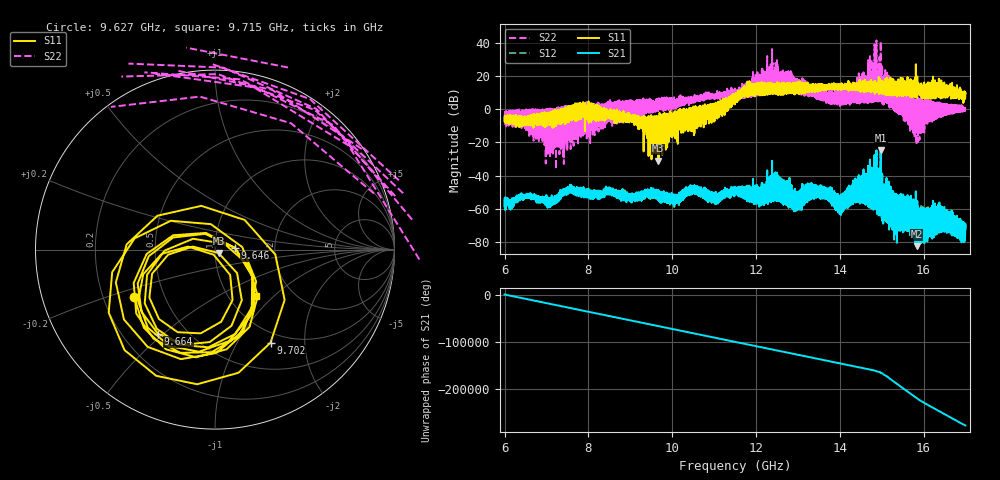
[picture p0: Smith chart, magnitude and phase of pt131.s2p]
#  HZ  S  RI  R  50.00
! Rohde & Schwarz Vector Network Analyzer
! Rohde-Schwarz,ZNA67-2Port,1332450062101215,3.01
! Created: UTC 10/19/2026, 5:41:43 PM
! freq[Hz]  re:S11  im:S11  re:S21  im:S21  re:S12  im:S12  re:S22  im:S22
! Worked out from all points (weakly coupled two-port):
!   11001 points, 6 GHz to 17 GHz, reference 50 ohm
!   highest |S21| = -24.55 dB at 14.98 GHz (marker M1); lowest = -82.7 dB at 15.83 GHz (marker M2)
!   lowest |S11| = -31.1 dB at 9.67 GHz (marker M3), VSWR 1.06, Z = 52 - j2.02 ohm
!   |S11| at or under -10 dB: 9.386495 GHz to 9.391293 GHz (4.798 MHz wide, 0.0511 % of centre); 9.398465 GHz to 9.403023 GHz (4.558 MHz wide, 0.0485 % of centre); 9.586537 GHz to 9.591015 GHz (4.478 MHz wide, 0.0467 % of centre) (the widest 3 of 123)
!   |S22| runs from -36.2 to 41.5 dB; largest |S21 - S12| = 0.0075
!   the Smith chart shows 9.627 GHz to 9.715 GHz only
!   S11 on the Smith chart (normalised r, x): 9.627 GHz: 0.34, -0.24; 9.646 GHz: 1.25, +0.02; 9.664 GHz: 0.35, -0.48; 9.702 GHz: 0.85, -1.39; 9.715 GHz: 1.32, -0.78
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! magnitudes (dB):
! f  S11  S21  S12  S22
! 6 GHz  -5.3  -58.6  -59.4  -3.2
! 7.834 GHz  -4.1  -52.6  -52.4  -11.8
! 9.627 GHz  -5.7  -49.9  -50.0  3.7
! 9.646 GHz  -18.9  -52.8  -53.4  4.1
! 9.664 GHz  -4.9  -52.5  -52.8  -0.5
! 9.667 GHz  -7.2  -53.4  -53.9  -0.1
! 9.67 GHz  -31.1  -52.0  -52.3  3.7
! 9.702 GHz  -4.4  -55.7  -56.1  1.9
! 9.715 GHz  -9.2  -55.5  -55.7  2.9
! 11.06 GHz  1.1  -52.7  -52.4  9.0
! 11.5 GHz  4.1  -50.2  -50.2  8.8
! 12.06 GHz  11.4  -55.9  -55.6  11.3
! 12.49 GHz  12.3  -54.3  -54.2  10.2
! 12.96 GHz  14.6  -54.3  -53.9  14.5
! 13.33 GHz  11.6  -51.6  -51.4  10.1
! 14.01 GHz  13.4  -58.5  -57.8  3.4
! 14.42 GHz  12.4  -55.7  -55.8  5.3
! 14.98 GHz  14.0  -24.5  -24.3  40.9
! 15.17 GHz  10.8  -65.6  -65.3  3.7
! 15.83 GHz  10.3  -82.7  -82.5  -21.3
! 16.39 GHz  9.0  -70.9  -71.2  -1.6
! 17 GHz  9.6  -72.4  -72.9  1.4
